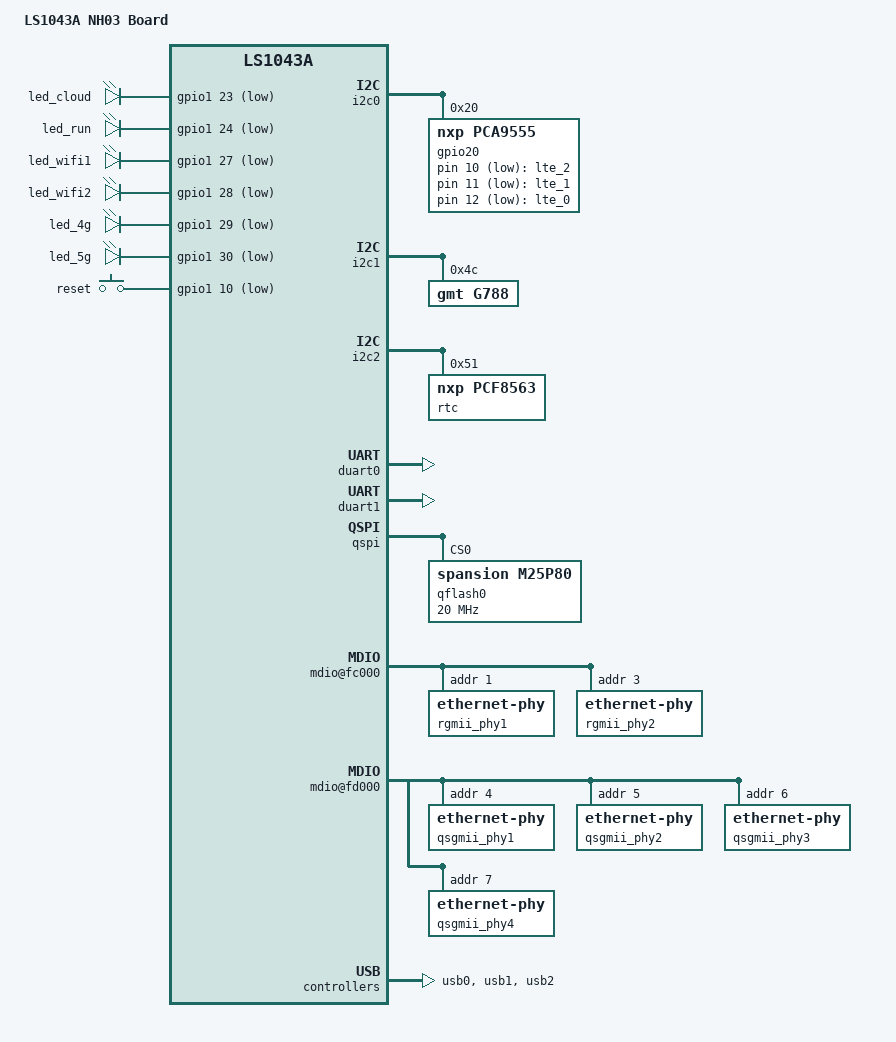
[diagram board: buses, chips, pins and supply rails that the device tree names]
// SPDX-License-Identifier: (GPL-2.0+ OR MIT)
/*
 * Device Tree Include file for Freescale Layerscape-1043A family SoC.
 *
 * Copyright 2014-2015 Freescale Semiconductor, Inc.
 * Copyright 2018 NXP
 *
 * Mingkai Hu <Mingkai.hu@freescale.com>
 */

/dts-v1/;
#include "fsl-ls1043a.dtsi"

/ {
	model = "LS1043A NH03 Board";
	compatible = "fsl,ls1043a-nh03", "fsl,ls1043a";

	aliases {
		serial0 = &duart0;
		serial1 = &duart1;
		serial2 = &duart2;
		serial3 = &duart3;
	};

	chosen {
		stdout-path = "serial0:115200n8";
	};
};

&esdhc {
	mmc-hs200-1_8v;
	sd-uhs-sdr104;
	sd-uhs-sdr50;
	sd-uhs-sdr25;
	sd-uhs-sdr12;
};

&i2c0 {
	status = "okay";

	gpio20: gpio@20 {
		compatible = "nxp,pca9555";
		reg = <0x20>;
		pinctrl-names = "default";
		gpio-controller;
		#gpio-cells = <0x02>;
	};
};

&i2c1 {
	status = "okay";
	g788@4c {
		compatible = "gmt,g788";
		reg = <0x4c>;
	};
};

&i2c2 {
	status = "okay";
	rtc@51 {
		compatible = "nxp,pcf8563";
		reg = <0x51>;
	};
};

&leds {
	compatible = "gpio-leds";

	led@1 {
		gpios = <&gpio1 23 1>;
		label = "led_cloud";
		default-state = "off";
	};

	led@2 {
		gpios = <&gpio1 24 1>;
		label = "led_run";
		default-state = "off";
	};

	led@3 {
		gpios = <&gpio1 27 1>;
		label = "led_wifi1";
		default-state = "off";
	};

	led@4 {
		gpios = <&gpio1 28 1>;
		label = "led_wifi2";
		default-state = "off";
	};

	led@5 {
		gpios = <&gpio1 29 1>;
		label = "led_4g";
		default-state = "off";
	};

	led@6 {
		gpios = <&gpio1 30 1>;
		label = "led_5g";
		default-state = "off";
	};

	lte_2 {
		gpios = <&gpio20 10 1>;
		label = "lte_2";
		default-state = "off";
	};

	lte_1 {
		gpios = <&gpio20 11 1>;
		label = "lte_1";
		default-state = "off";
	};

	lte_0 {
		gpios = <&gpio20 12 1>;
		label = "lte_0";
		default-state = "off";
	};
};

&keys{
	reset {
		label = "reset";
		gpios = <&gpio1 10 1>;
		linux,code = <0x198>;
	};
};

&ifc {
	status = "disabled";
	#address-cells = <2>;
	#size-cells = <1>;
	/* NOR, NAND Flashes and FPGA on board */
	ranges = <0x0 0x0 0x0 0x60000000 0x08000000
		  0x1 0x0 0x0 0x7e800000 0x00010000
		  0x2 0x0 0x0 0x7fb00000 0x00000100>;

		flash@0,0 {
			compatible = "cfi-flash";
			#address-cells = <1>;
			#size-cells = <1>;
			reg = <0x0 0x0 0x8000000>;
			big-endian;
			bank-width = <2>;
			device-width = <1>;
		};

		nand@1,0 {
			compatible = "fsl,ifc-nand";
			#address-cells = <1>;
			#size-cells = <1>;
			reg = <0x1 0x0 0x10000>;
		};

		cpld: board-control@2,0 {
			compatible = "fsl,ls1043ardb-cpld";
			reg = <0x2 0x0 0x0000100>;
		};
};

&dspi0 {
	bus-num = <0>;
	status = "disabled";

	flash@0 {
		#address-cells = <1>;
		#size-cells = <1>;
		compatible = "n25q128a13", "jedec,spi-nor";  /* 16MB */
		reg = <0>;
		spi-max-frequency = <1000000>; /* input clock */
		/*
		 * Standard CS timing properties replace the deprecated vendor
		 * variants below.
		 */
		spi-cs-setup-delay-ns = <100>;
		spi-cs-hold-delay-ns = <100>;
		fsl,spi-cs-sck-delay = <100>;
		fsl,spi-sck-cs-delay = <100>;
	};

	slic@2 {
		compatible = "maxim,ds26522";
		reg = <2>;
		spi-max-frequency = <2000000>;
		/*
		 * Standard CS timing properties replace the deprecated vendor
		 * variants below.
		 */
		spi-cs-setup-delay-ns = <100>;
		spi-cs-hold-delay-ns = <50>;
		fsl,spi-cs-sck-delay = <100>;
		fsl,spi-sck-cs-delay = <50>;
	};

	slic@3 {
		compatible = "maxim,ds26522";
		reg = <3>;
		spi-max-frequency = <2000000>;
		/*
		 * Standard CS timing properties replace the deprecated vendor
		 * variants below.
		 */
		spi-cs-setup-delay-ns = <100>;
		spi-cs-hold-delay-ns = <50>;
		fsl,spi-cs-sck-delay = <100>;
		fsl,spi-sck-cs-delay = <50>;
	};
};

&duart0 {
	status = "okay";
};

&duart1 {
	status = "okay";
};

&qspi {
	status = "okay";
	qflash0: s25fs512s@0 {
		compatible = "spansion,m25p80";
		#address-cells = <1>;
		#size-cells = <1>;
		spi-max-frequency = <20000000>;
		m25p,fast-read;
		reg = <0>;
		spi-rx-bus-width = <1>;
		spi-tx-bus-width = <1>;
	};
};

#include "fsl-ls1043-post.dtsi"

&fman0 {

	ethernet@e0000 {
		phy-handle = <&qsgmii_phy1>;
		phy-connection-type = "qsgmii";
	};

	ethernet@e2000 {
		phy-handle = <&qsgmii_phy2>;
		phy-connection-type = "qsgmii";
	};

	ethernet@e4000 {
		phy-handle = <&rgmii_phy1>;
		phy-connection-type = "rgmii-id";
	};

	ethernet@e6000 {
		phy-handle = <&rgmii_phy2>;
		phy-connection-type = "rgmii-id";
	};

	ethernet@e8000 {
		phy-handle = <&qsgmii_phy3>;
		phy-connection-type = "qsgmii";
	};

	ethernet@ea000 { 
		phy-handle = <&qsgmii_phy4>;
		phy-connection-type = "qsgmii";
	};

	mdio@fc000 {
		rgmii_phy1: ethernet-phy@1 {
			reg = <0x1>;
		};

		rgmii_phy2: ethernet-phy@3 {
			reg = <0x3>;
		};
	};

	mdio@fd000 {
		qsgmii_phy1: ethernet-phy@4 {
			reg = <0x4>;
			max-speed = <1000>;
		};

		qsgmii_phy2: ethernet-phy@5 {
			reg = <0x5>;
			max-speed = <1000>;
		};

		qsgmii_phy3: ethernet-phy@6 {
			reg = <0x6>;
			max-speed = <1000>;
		};

		qsgmii_phy4: ethernet-phy@7 {
			reg = <0x7>;
			max-speed = <1000>;
		};
	};
};

&uqe {
	ucc_hdlc: ucc@2000 {
		compatible = "fsl,ucc-hdlc";
		rx-clock-name = "clk8";
		tx-clock-name = "clk9";
		fsl,rx-sync-clock = "rsync_pin";
		fsl,tx-sync-clock = "tsync_pin";
		fsl,tx-timeslot-mask = <0xfffffffe>;
		fsl,rx-timeslot-mask = <0xfffffffe>;
		fsl,tdm-framer-type = "e1";
		fsl,tdm-id = <0>;
		fsl,siram-entry-id = <0>;
		fsl,tdm-interface;
	};
};

&usb0 {
	status = "okay";
};

&usb1 {
	status = "okay";
};

&usb2 {
	status = "okay";
};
